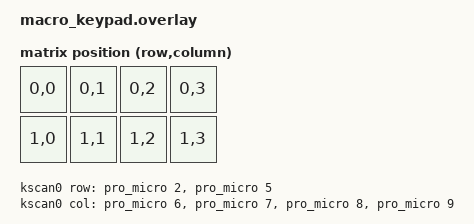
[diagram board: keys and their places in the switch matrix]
#include <dt-bindings/zmk/matrix_transform.h>
#include "macro_keypad-layouts.dtsi"

/ {
	chosen {
		zmk,kscan = &kscan0;
		zmk,physical-layout = &macro_keypad_physical_layout;
	};
	
	kscan0: kscan {
		compatible = "zmk,kscan-gpio-matrix";
		diode-direction = "col2row";
		wakeup-source;
		
		row-gpios = <&pro_micro 2 (GPIO_ACTIVE_HIGH | GPIO_PULL_DOWN)>, 
                    <&pro_micro 5 (GPIO_ACTIVE_HIGH | GPIO_PULL_DOWN)>;
		
		col-gpios = <&pro_micro 6 GPIO_ACTIVE_HIGH>,
                    <&pro_micro 7 GPIO_ACTIVE_HIGH>, 
                    <&pro_micro 8 GPIO_ACTIVE_HIGH>, 
                    <&pro_micro 9 GPIO_ACTIVE_HIGH>;
	};

    default_transform: keymap_transform0 {
        compatible = "zmk,matrix-transform";
        columns = <4>;
        rows = <2>;

            // | SW1  | SW2  | SW3  | SW4  |
            // | SW5  | SW6  | SW7  | SW8 |
        map = <RC(0,0) RC(0,1) RC(0,2) RC(0,3)
               RC(1,0) RC(1,1) RC(1,2) RC(1,3)>;
    };
};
